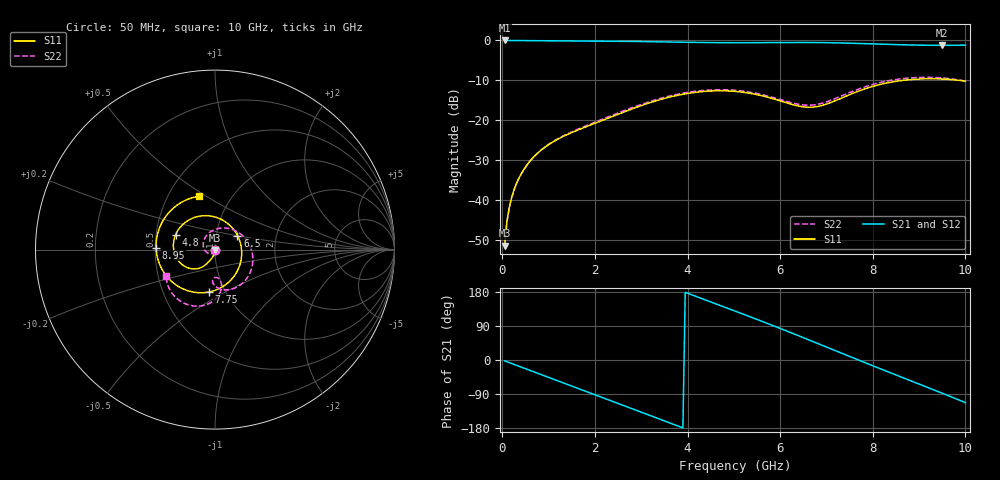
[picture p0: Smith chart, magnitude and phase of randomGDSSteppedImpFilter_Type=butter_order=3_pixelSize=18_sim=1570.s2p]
! freq	dB(S11)	phase(S11)	dB(S12)	phase(S12)
!  dB(S21)	phase(S21)	dB(S22)	phase(S22)
!S-par simulation data
#  GHz  S  DB  R 50
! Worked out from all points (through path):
!   200 points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, 50 MHz to 10 GHz, reference 50 ohm
!   highest |S21| = 0.00 dB at 50 MHz (marker M1); lowest = -1.2 dB at 9.5 GHz (marker M2)
!   group delay of S21, straight-line fit = 131 ps
!   lowest |S11| = -51.3 dB at 50 MHz (marker M3), VSWR 1.01, Z = 50 - j0.272 ohm
!   |S11| at or under -10 dB: start of sweep to 8.634 GHz; 9.887 GHz to end of sweep
!   |S22| runs from -51.4 to -9.2 dB; largest |S21 - S12| = 0
!   S11 on the Smith chart (normalised r, x): 50 MHz: 1.00, -0.01; 4.8 GHz: 0.63, +0.11; 6.5 GHz: 1.27, +0.20; 7.75 GHz: 0.84, -0.42; 8.95 GHz: 0.51, +0.01; 10 GHz: 0.71, +0.47
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0.05  -51.32 -89.7  -0.00 -2.3  -0.00 -2.3  -51.42 -92.3
0.1  -45.31 -91.3  -0.01 -4.6  -0.01 -4.6  -45.41 -96.5
0.2  -39.33 -93.5  -0.01 -9.2  -0.01 -9.2  -39.42 -103.8
0.35  -34.63 -96.7  -0.02 -16.1  -0.02 -16.1  -34.68 -114.7
0.5  -31.66 -100.4  -0.03 -22.9  -0.03 -22.9  -31.73 -126.4
1.15  -24.99 -111.9  -0.07 -52.7  -0.07 -52.7  -24.89 -176.1
1.75  -21.83 -118.5  -0.12 -80.1  -0.12 -80.1  -21.60 135.4
2.5  -18.45 -126.2  -0.20 -114.6  -0.20 -114.6  -18.13 75.1
2.95  -16.49 -134.4  -0.26 -135.4  -0.26 -135.4  -16.18 42.3
3.4  -14.81 -146.0  -0.35 -156.2  -0.35 -156.2  -14.52 13.0
4.1  -13.07 -170.1  -0.48 171.7  -0.48 171.7  -12.81 -26.5
4.8  -12.59 159.4  -0.56 139.6  -0.56 139.6  -12.32 -59.3
5.05  -12.76 146.7  -0.57 128.1  -0.57 128.1  -12.48 -69.3
5.8  -14.41 99.4  -0.54 92.9  -0.54 92.9  -14.09 -91.3
6.5  -16.60 32.1  -0.51 59.0  -0.51 59.0  -16.14 -91.0
6.7  -16.67 8.0  -0.52 49.1  -0.52 49.1  -16.15 -86.8
7.25  -14.78 -54.5  -0.61 21.8  -0.61 21.8  -14.22 -79.5
7.75  -12.42 -98.6  -0.77 -3.0  -0.77 -3.0  -11.91 -85.2
8.35  -10.52 -142.0  -1.00 -32.2  -1.00 -32.2  -10.04 -100.5
8.95  -9.67 178.1  -1.17 -61.1  -1.17 -61.1  -9.27 -118.7
9.5  -9.64 141.5  -1.22 -87.6  -1.22 -87.6  -9.38 -135.9
10  -10.17 106.7  -1.18 -112.4  -1.18 -112.4  -10.16 -151.3
